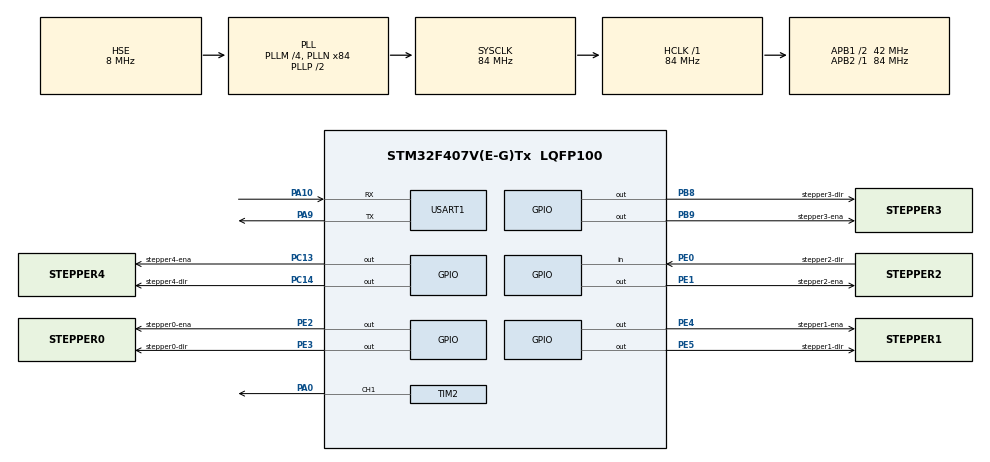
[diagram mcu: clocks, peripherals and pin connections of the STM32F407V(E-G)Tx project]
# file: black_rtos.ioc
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FREERTOS.Tasks01=defaultTask,24,128,StartDefaultTask,Default,NULL,Dynamic,NULL,NULL
FREERTOS.configUSE_NEWLIB_REENTRANT=1
Mcu.Family=STM32F4
Mcu.Name=STM32F407V(E-G)Tx
Mcu.Package=LQFP100
NVIC.PriorityGroup=NVIC_PRIORITYGROUP_4
NVIC.TIM6_DAC_IRQn=true\:15\:0\:false\:false\:true\:false\:false\:true\:true
NVIC.TimeBase=TIM6_DAC_IRQn
NVIC.TimeBaseIP=TIM6
NVIC.USART1_IRQn=true\:5\:0\:false\:false\:true\:true\:true\:true\:true
PA0-WKUP.Signal=S_TIM2_CH1_ETR
PA10.Mode=Asynchronous
PA10.Signal=USART1_RX
PA9.Mode=Asynchronous
PA9.Signal=USART1_TX
PB8.GPIO_Label=stepper3-dir
PB8.Signal=GPIO_Output
PB9.GPIO_Label=stepper3-ena
PB9.Signal=GPIO_Output
PC13-ANTI_TAMP.GPIO_Label=stepper4-ena
PC13-ANTI_TAMP.Signal=GPIO_Output
PC14-OSC32_IN.GPIO_Label=stepper4-dir
PC14-OSC32_IN.Signal=GPIO_Output
PE0.GPIO_Label=stepper2-dir
PE0.Signal=GPIO_Input
PE1.GPIO_Label=stepper2-ena
PE1.Signal=GPIO_Output
PE2.GPIO_Label=stepper0-ena
PE2.Signal=GPIO_Output
PE3.GPIO_Label=stepper0-dir
PE3.Signal=GPIO_Output
PE4.GPIO_Label=stepper1-ena
PE4.Signal=GPIO_Output
PE5.GPIO_Label=stepper1-dir
PE5.Signal=GPIO_Output
PH0-OSC_IN.Mode=HSE-External-Oscillator
PH0-OSC_IN.Signal=RCC_OSC_IN
PH1-OSC_OUT.Mode=HSE-External-Oscillator
PH1-OSC_OUT.Signal=RCC_OSC_OUT
ProjectManager.HeapSize=0x200
ProjectManager.StackSize=0x400
ProjectManager.TargetToolchain=STM32CubeIDE
RCC.48MHZClocksFreq_Value=42000000
RCC.AHBFreq_Value=84000000
RCC.APB1CLKDivider=RCC_HCLK_DIV2
RCC.APB1Freq_Value=42000000
RCC.APB1TimFreq_Value=84000000
RCC.APB2Freq_Value=84000000
RCC.APB2TimFreq_Value=84000000
RCC.CortexFreq_Value=84000000
RCC.EnbaleCSS=true
RCC.HCLKFreq_Value=84000000
RCC.HSE_VALUE=8000000
RCC.HSI_VALUE=16000000
RCC.LSE_VALUE=32768
RCC.PLLM=4
RCC.PLLN=84
RCC.PLLSourceVirtual=RCC_PLLSOURCE_HSE
RCC.SYSCLKFreq_VALUE=84000000
RCC.SYSCLKSource=RCC_SYSCLKSOURCE_PLLCLK
RCC.VCOOutputFreq_Value=168000000
SH.S_TIM2_CH1_ETR.0=TIM2_CH1,PWM Generation1 CH1
TIM2.AutoReloadPreload=TIM_AUTORELOAD_PRELOAD_ENABLE
TIM2.Channel-PWM\ Generation1\ CH1=TIM_CHANNEL_1
TIM3.AutoReloadPreload=TIM_AUTORELOAD_PRELOAD_ENABLE
TIM4.AutoReloadPreload=TIM_AUTORELOAD_PRELOAD_ENABLE
TIM5.AutoReloadPreload=TIM_AUTORELOAD_PRELOAD_ENABLE
TIM8.AutoReloadPreload=TIM_AUTORELOAD_PRELOAD_ENABLE
USART1.VirtualMode=VM_ASYNC
VP_FREERTOS_VS_CMSIS_V2.Mode=CMSIS_V2
VP_SYS_VS_tim6.Mode=TIM6
VP_TIM2_VS_ClockSourceINT.Mode=Internal
VP_TIM3_VS_ClockSourceINT.Mode=Internal
VP_TIM4_VS_ClockSourceINT.Mode=Internal
VP_TIM5_VS_ClockSourceINT.Mode=Internal
VP_TIM8_VS_ClockSourceINT.Mode=Internal
board=custom

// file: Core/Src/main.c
/* USER CODE BEGIN Header */
/**
 ******************************************************************************
 * @file           : main.c
 * @brief          : Main program body
 ******************************************************************************
 * @attention
 *
 * Copyright (c) 2026 STMicroelectronics.
 * All rights reserved.
 *
 * This software is licensed under terms that can be found in the LICENSE file
 * in the root directory of this software component.
 * If no LICENSE file comes with this software, it is provided AS-IS.
 *
 ******************************************************************************
 */
/* USER CODE END Header */
#include "main.h"
#include "cmsis_os.h"
#include "tim.h"
#include "usart.h"
#include "gpio.h"

/* USER CODE BEGIN Includes */
#include <string.h>
#include "stepper.h"
/* USER CODE END Includes */

void SystemClock_Config(void);
void MX_FREERTOS_Init(void);

/* USER CODE BEGIN 0 */
uint8_t rx_buffer[28];
typedef struct {
	uint8_t data_pack[28];
} Message_t;

//stepper_t my_stepper2;
/* USER CODE END 0 */

int main(void)
{

  /* MCU Configuration--------------------------------------------------------*/

  /* Reset of all peripherals, Initializes the Flash interface and the Systick. */
  HAL_Init();

  /* Configure the system clock */
  SystemClock_Config();

  /* Initialize all configured peripherals */
  MX_GPIO_Init();
  MX_TIM4_Init();
  MX_TIM2_Init();
  MX_TIM3_Init();
  MX_TIM5_Init();
  MX_TIM8_Init();
  MX_USART1_UART_Init();
  /* USER CODE BEGIN 2 */
	//stepper_init(&my_stepper2, &htim2);
	//stepper_set_direction(&my_stepper2, true);
	//stepper_set_speed(&my_stepper2, 30);
	HAL_UART_Receive_IT(&huart1, rx_buffer, 28);
  /* USER CODE END 2 */

  /* Init scheduler */
  osKernelInitialize();  /* Call init function for freertos objects (in cmsis_os2.c) */
  MX_FREERTOS_Init();

  /* Start scheduler */
  osKernelStart();

  /* We should never get here as control is now taken by the scheduler */

  /* Infinite loop */
	while (1) {

	}
}

void SystemClock_Config(void)
{
  RCC_OscInitTypeDef RCC_OscInitStruct = {0};
  RCC_ClkInitTypeDef RCC_ClkInitStruct = {0};

  /** Configure the main internal regulator output voltage
  */
  __HAL_RCC_PWR_CLK_ENABLE();
  __HAL_PWR_VOLTAGESCALING_CONFIG(PWR_REGULATOR_VOLTAGE_SCALE1);

  /** Initializes the RCC Oscillators according to the specified parameters
  * in the RCC_OscInitTypeDef structure.
  */
  RCC_OscInitStruct.OscillatorType = RCC_OSCILLATORTYPE_HSE;
  RCC_OscInitStruct.HSEState = RCC_HSE_ON;
  RCC_OscInitStruct.PLL.PLLState = RCC_PLL_ON;
  RCC_OscInitStruct.PLL.PLLSource = RCC_PLLSOURCE_HSE;
  RCC_OscInitStruct.PLL.PLLM = 4;
  RCC_OscInitStruct.PLL.PLLN = 84;
  RCC_OscInitStruct.PLL.PLLP = RCC_PLLP_DIV2;
  RCC_OscInitStruct.PLL.PLLQ = 4;
  if (HAL_RCC_OscConfig(&RCC_OscInitStruct) != HAL_OK)
  {
    Error_Handler();
  }

  /** Initializes the CPU, AHB and APB buses clocks
  */
  RCC_ClkInitStruct.ClockType = RCC_CLOCKTYPE_HCLK|RCC_CLOCKTYPE_SYSCLK
                              |RCC_CLOCKTYPE_PCLK1|RCC_CLOCKTYPE_PCLK2;
  RCC_ClkInitStruct.SYSCLKSource = RCC_SYSCLKSOURCE_PLLCLK;
  RCC_ClkInitStruct.AHBCLKDivider = RCC_SYSCLK_DIV1;
  RCC_ClkInitStruct.APB1CLKDivider = RCC_HCLK_DIV2;
  RCC_ClkInitStruct.APB2CLKDivider = RCC_HCLK_DIV1;

  if (HAL_RCC_ClockConfig(&RCC_ClkInitStruct, FLASH_LATENCY_2) != HAL_OK)
  {
    Error_Handler();
  }

  /** Enables the Clock Security System
  */
  HAL_RCC_EnableCSS();
}

/* USER CODE BEGIN 4 */
extern osMessageQueueId_t messageQueueHandle;

void HAL_UART_RxCpltCallback(UART_HandleTypeDef *huart) {
	// When data comes from uart, handle it
	if (huart->Instance == USART1) {
		Message_t rx_msg;
		memcpy(rx_msg.data_pack, rx_buffer, 28);
		osMessageQueuePut(messageQueueHandle, &rx_msg, 0, 0);
	}
	HAL_UART_Receive_IT(&huart1, rx_buffer, 28);
}
/* USER CODE END 4 */

void HAL_TIM_PeriodElapsedCallback(TIM_HandleTypeDef *htim)
{
  if (htim->Instance == TIM6)
  {
    HAL_IncTick();
  }
}

void Error_Handler(void)
{
	__disable_irq();
	while (1) {
	}
}

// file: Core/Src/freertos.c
/* USER CODE BEGIN Header */
/**
 ******************************************************************************
 * File Name          : freertos.c
 * Description        : Code for freertos applications
 ******************************************************************************
 * @attention
 *
 * Copyright (c) 2026 STMicroelectronics.
 * All rights reserved.
 *
 * This software is licensed under terms that can be found in the LICENSE file
 * in the root directory of this software component.
 * If no LICENSE file comes with this software, it is provided AS-IS.
 *
 ******************************************************************************
 */
/* USER CODE END Header */

#include "FreeRTOS.h"
#include "task.h"
#include "main.h"
#include "cmsis_os.h"

/* USER CODE BEGIN Includes */
#include <string.h>
#include <stdbool.h>
#include "stepper.h"
#include "tim.h"
/* USER CODE END Includes */

/* USER CODE BEGIN PD */
#define PACKET_START 0x3C3C3C3C // "<<<<"
#define PACKET_END   0x3E3E3E3E // ">>>>"
/* USER CODE END PD */

/* USER CODE BEGIN Variables */
/* Active stepper motor object */
stepper_t my_stepper0;
stepper_t my_stepper1;
stepper_t my_stepper2;
stepper_t my_stepper3;
stepper_t my_stepper4;

// Message Queues to handle serial data and speed data
typedef struct {
	uint8_t data_pack[28];
} Message_t;

osMessageQueueId_t messageQueueHandle;

/////////////////////////////
typedef struct {
	float speed[5];
} Command_t;

osMessageQueueId_t commandQueueHandle;

// Task Identifiers

osThreadId_t parsingID;
osThreadId_t settingID;

// Task Attributes

const osThreadAttr_t parseTask_attributes = { .name = "parseTask", .stack_size =
		128 * 4, .priority = (osPriority_t) osPriorityNormal, };

const osThreadAttr_t setTimerTask_attributes = { .name = "setSpeedTask",
		.stack_size = 128 * 4, .priority = (osPriority_t) osPriorityHigh, };
/* USER CODE END Variables */
/* Definitions for defaultTask */
osThreadId_t defaultTaskHandle;
const osThreadAttr_t defaultTask_attributes = {
  .name = "defaultTask",
  .stack_size = 128 * 4,
  .priority = (osPriority_t) osPriorityNormal,
};

/* USER CODE BEGIN FunctionPrototypes */
/* Primary Tasks to handle signal and pwm*/

// Processing signal task
void parsePacketTask(void *argument) {
	Message_t rx_msg;
	uint32_t header;
	uint32_t tail;
	Command_t cmd_msg;
	for (;;) {
		if (osMessageQueueGet(messageQueueHandle, &rx_msg, NULL, osWaitForever)
				== osOK) {

			memcpy(&header, &rx_msg, 4);

			memcpy(&tail, &rx_msg.data_pack[24], 4);

			if (header == PACKET_START && tail == PACKET_END) {

				memcpy(cmd_msg.speed, &rx_msg.data_pack[4],
						sizeof(cmd_msg.speed));

				osMessageQueuePut(commandQueueHandle, &cmd_msg, 0, 0);

			}
		}
	}

}
// Setting PWM Signal task
void setTimersTask(void *argument) {
	Command_t cmd_msg;

	for (;;) {
		osStatus_t status = osMessageQueueGet(commandQueueHandle, &cmd_msg,
		NULL, 500);
		if (status == osOK) {

			// Set the direction accordingly
			float speed[5];

			for (int i = 0; i < 5; i++) {
				speed[i] = cmd_msg.speed[i];
			}
			// stepper 0
			if (speed[0] < 0) {
				stepper_set_direction(&my_stepper0, false);
				speed[0] = -speed[0];
			}
			else {
				stepper_set_direction(&my_stepper0, true);
			}
			stepper_move_speed(&my_stepper0, speed[0]);

			// stepper 1
			if (speed[1] < 0) {
				stepper_set_direction(&my_stepper1, false);
				speed[1] = -speed[1];
			}
			else {
				stepper_set_direction(&my_stepper1, true);
			}
			stepper_move_speed(&my_stepper1, speed[1]);

			// stepper 2
			if (speed[2] < 0) {
				stepper_set_direction(&my_stepper2, false);
				speed[2] = -speed[2];
			}
			else {
				stepper_set_direction(&my_stepper2, true);
			}
			stepper_move_speed(&my_stepper2, speed[2]);

			// stepper 3

			if (speed[3] < 0) {
				stepper_set_direction(&my_stepper3, false);
				speed[3] = -speed[3];
			}
			else {
				stepper_set_direction(&my_stepper3, true);
			}
			stepper_move_speed(&my_stepper3, speed[3]);
			// stepper 4

			if (speed[4] < 0) {
				stepper_set_direction(&my_stepper4, false);
				speed[4] = -speed[4];
			}
			else {
				stepper_set_direction(&my_stepper4, true);
			}
			stepper_move_speed(&my_stepper4, speed[4]);

		} else if (status == osErrorTimeout) {
			stepper_stop(&my_stepper0);
			stepper_stop(&my_stepper1);
			stepper_stop(&my_stepper2);
			stepper_stop(&my_stepper3);
			stepper_stop(&my_stepper4);
		}
	}
}

/* USER CODE END FunctionPrototypes */

void StartDefaultTask(void *argument);

void MX_FREERTOS_Init(void); /* (MISRA C 2004 rule 8.1) */

void MX_FREERTOS_Init(void) {
  /* USER CODE BEGIN Init */
	stepper_init(&my_stepper0, GPIOE, GPIO_PIN_2, GPIO_PIN_3, &htim2);
	stepper_init(&my_stepper1, GPIOE, GPIO_PIN_4, GPIO_PIN_5, &htim3);
	stepper_init(&my_stepper2, GPIOE, GPIO_PIN_1, GPIO_PIN_0, &htim4);
	stepper_init(&my_stepper3, GPIOB, GPIO_PIN_9, GPIO_PIN_8, &htim5);
	stepper_init(&my_stepper4, GPIOC, GPIO_PIN_13, GPIO_PIN_14, &htim8);
  /* USER CODE END Init */

  /* USER CODE BEGIN RTOS_QUEUES */
	/* add queues, ... */
	messageQueueHandle = osMessageQueueNew(16, sizeof(Message_t), NULL);
	commandQueueHandle = osMessageQueueNew(16, sizeof(Command_t), NULL);
  /* USER CODE END RTOS_QUEUES */

  /* Create the thread(s) */
  /* creation of defaultTask */
  defaultTaskHandle = osThreadNew(StartDefaultTask, NULL, &defaultTask_attributes);

  /* USER CODE BEGIN RTOS_THREADS */
	/* add threads, ... */
	parsingID = osThreadNew(parsePacketTask, NULL, &parseTask_attributes);
	settingID = osThreadNew(setTimersTask, NULL, &setTimerTask_attributes);
  /* USER CODE END RTOS_THREADS */

}

void StartDefaultTask(void *argument)
{
	for (;;) {
		osDelay(1);
	}
}
